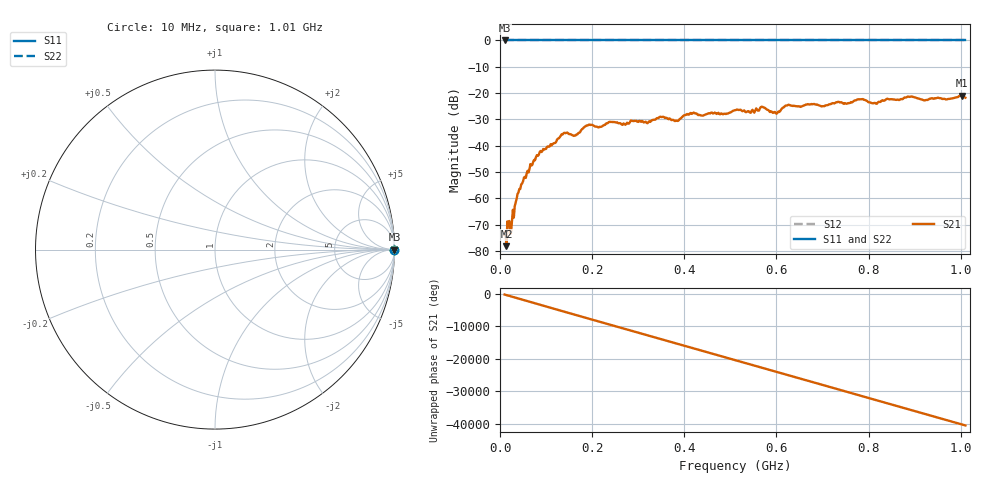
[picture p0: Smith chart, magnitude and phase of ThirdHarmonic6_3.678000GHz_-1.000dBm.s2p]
! 8/17/2025 12:26:57 PM
! C:\ANRITSUVNA\TEMP\TEMP.S2P
! CHANNEL.1
! TR.MEASUREMENT
! RAW.DATA
! RF.CORRECTION.OFF
! AVERAGING.OFF
! IF.BANDWIDTH: 5KHZ
! SWEEPTYPE:  FREQ.SWEEP(Linear)
! Reference Plane Port Info
! PORT:  PORT1  PORT2
! DISTANCE:  0  m  0  m
! TIME:  0  s  0  s
! PHASE.OFFSET:  0  deg.  0  deg.
! LOSS:  0  dB  0  dB
! REF.LOSS:  0  dB  0  dB
! REF.FREQ:  0  Hz  0  Hz
! Power Info
! POWER:  -20  dBm  -20  dBm
! EFF.POWER:  -20  dBm  -20  dBm
! SOURCE.ATTEN:  0  dB  0  dB
! TEST.ATTEN:  0  dB  0  dB
# GHZ S RI R 50.0
! FREQ.GHZ  S11RE  S11IM  S21RE  S21IM  S12RE  S12IM  S22RE  S22IM
!; PortSelection: Port_12
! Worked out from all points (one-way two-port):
!   501 points, 10 MHz to 1.01 GHz, reference 50 ohm
!   highest |S21| = -21.00 dB at 1.002 GHz (marker M1); lowest = -78.2 dB at 14 MHz (marker M2)
!   lowest |S11| = 0.0 dB at 10 MHz (marker M3)
!   |S11| at or under -10 dB: nowhere
!   |S22| runs from 0.0 to 0.0 dB; largest |S21 - S12| = 1.1
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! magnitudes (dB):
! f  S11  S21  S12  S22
! 10 MHz  0.0  -73.9  0.0  0.0
! 14 MHz  0.0  -78.2  0.0  0.0
! 26 MHz  0.0  -68.4  0.0  0.0
! 32 MHz  0.0  -63.0  0.0  0.0
! 42 MHz  0.0  -56.5  0.0  0.0
! 82 MHz  0.0  -43.9  0.0  0.0
! 136 MHz  0.0  -35.7  0.0  0.0
! 164 MHz  0.0  -36.1  0.0  0.0
! 178 MHz  0.0  -33.7  0.0  0.0
! 192 MHz  0.0  -32.1  0.0  0.0
! 322 MHz  0.0  -31.1  0.0  0.0
! 344 MHz  0.0  -29.5  0.0  0.0
! 384 MHz  0.0  -30.6  0.0  0.0
! 416 MHz  0.0  -27.9  0.0  0.0
! 510 MHz  0.0  -26.5  0.0  0.0
! 570 MHz  0.0  -25.3  0.0  0.0
! 598 MHz  0.0  -27.4  0.0  0.0
! 624 MHz  0.0  -24.6  0.0  0.0
! 678 MHz  0.0  -24.3  0.0  0.0
! 844 MHz  0.0  -22.4  0.0  0.0
! 1.002 GHz  0.0  -21.0  0.0  0.0
! 1.01 GHz  0.0  -21.8  0.0  0.0
